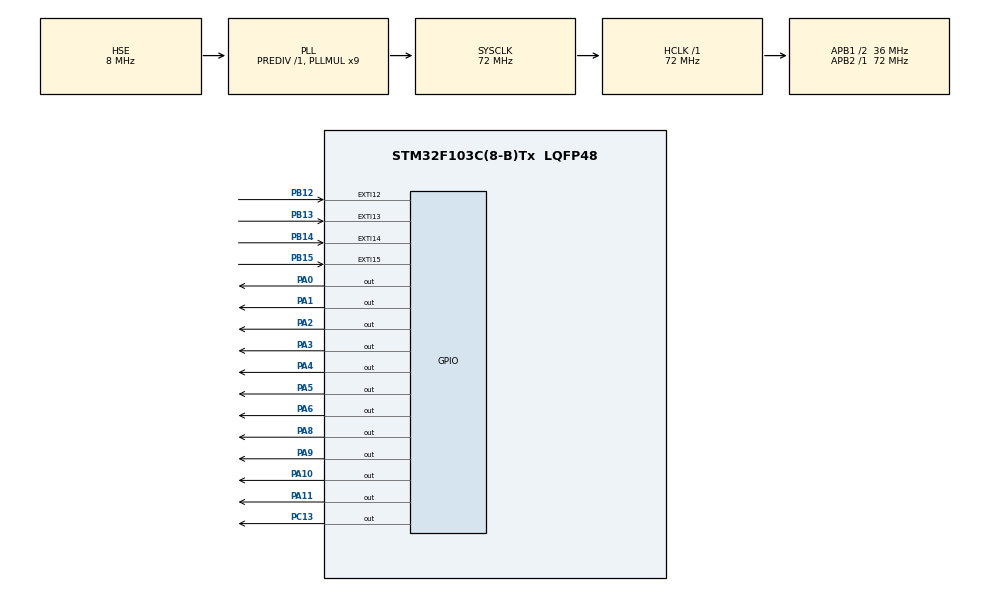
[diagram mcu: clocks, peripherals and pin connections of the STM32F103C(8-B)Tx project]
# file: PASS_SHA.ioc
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Mcu.Family=STM32F1
Mcu.Name=STM32F103C(8-B)Tx
Mcu.Package=LQFP48
NVIC.EXTI15_10_IRQn=true\:0\:0\:false\:false\:true\:true\:true\:true
NVIC.PriorityGroup=NVIC_PRIORITYGROUP_4
PA0-WKUP.Signal=GPIO_Output
PA1.Signal=GPIO_Output
PA10.Signal=GPIO_Output
PA11.Signal=GPIO_Output
PA13.Mode=Serial_Wire
PA13.Signal=SYS_JTMS-SWDIO
PA14.Mode=Serial_Wire
PA14.Signal=SYS_JTCK-SWCLK
PA2.Signal=GPIO_Output
PA3.Signal=GPIO_Output
PA4.Signal=GPIO_Output
PA5.Signal=GPIO_Output
PA6.Signal=GPIO_Output
PA8.Signal=GPIO_Output
PA9.Signal=GPIO_Output
PB12.Signal=GPXTI12
PB13.Signal=GPXTI13
PB14.Signal=GPXTI14
PB15.Signal=GPXTI15
PC13-TAMPER-RTC.PinState=GPIO_PIN_SET
PC13-TAMPER-RTC.Signal=GPIO_Output
PD0-OSC_IN.Mode=HSE-External-Oscillator
PD0-OSC_IN.Signal=RCC_OSC_IN
PD1-OSC_OUT.Mode=HSE-External-Oscillator
PD1-OSC_OUT.Signal=RCC_OSC_OUT
ProjectManager.HeapSize=0x200
ProjectManager.StackSize=0x400
ProjectManager.TargetToolchain=STM32CubeIDE
RCC.AHBFreq_Value=72000000
RCC.APB1CLKDivider=RCC_HCLK_DIV2
RCC.APB1Freq_Value=36000000
RCC.APB1TimFreq_Value=72000000
RCC.APB2Freq_Value=72000000
RCC.APB2TimFreq_Value=72000000
RCC.HCLKFreq_Value=72000000
RCC.PLLMUL=RCC_PLL_MUL9
RCC.PLLSourceVirtual=RCC_PLLSOURCE_HSE
RCC.SYSCLKFreq_VALUE=72000000
RCC.SYSCLKSource=RCC_SYSCLKSOURCE_PLLCLK
RCC.USBFreq_Value=72000000
TIM1.Period=0xffff-1
TIM1.Prescaler=72-1
VP_TIM1_VS_ClockSourceINT.Mode=Internal
board=custom

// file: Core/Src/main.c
/* USER CODE BEGIN Header */
/**
  ******************************************************************************
  * @file           : main.c
  * @brief          : Main program body
  ******************************************************************************
  * @attention
  *
  * Copyright (c) 2025 STMicroelectronics.
  * All rights reserved.
  *
  * This software is licensed under terms that can be found in the LICENSE file
  * in the root directory of this software component.
  * If no LICENSE file comes with this software, it is provided AS-IS.
  *
  ******************************************************************************
  */
/* USER CODE END Header */
#include "main.h"

/* USER CODE BEGIN Includes */
#include "LCD1602.h"
#include "flash.h"
#include "stdio.h"
#include "string.h"
#include <stdbool.h>

/* USER CODE END Includes */

/* USER CODE BEGIN PTD */
#define FLASH_USER_START_ADDR     0x0800F800
#define MAX_FAILED_ATTEMPTS       5
#define LOCK_DURATION_MS          300000
#define TIMEOUT_DURATION_MS       30000
#define ADMIN_CODE                "000999"

/* USER CODE END PTD */

TIM_HandleTypeDef htim1;

/* USER CODE BEGIN PV */

GPIO_InitTypeDef GPIO_InitStructPrivate = {0};

uint32_t previousMillis = 0;
uint32_t currentMillis = 0;
uint32_t lastInteraction = 0;
uint32_t lockTimestamp = 0;

int8_t keyPressed = -1;
uint8_t default_password[6] = "123456";
uint8_t current_password[10];
uint8_t input_password[10];
uint8_t new_password[10];
uint8_t confirm_password[10];

uint8_t input_length = 0;
uint8_t password_length = 6;
uint8_t failed_attempts = 0;
bool password_changed = false;

char lcd_buffer[20];

/* USER CODE END PV */

void SystemClock_Config(void);
static void MX_GPIO_Init(void);
static void MX_TIM1_Init(void);
/* USER CODE BEGIN PFP */

void Save_Password_To_Flash(void);
void Load_Password_From_Flash(void);
bool Verify_Password(void);
void Change_Password(void);

/* USER CODE END PFP */

int main(void)
{

  /* MCU Configuration--------------------------------------------------------*/

  /* Reset of all peripherals, Initializes the Flash interface and the Systick. */
  HAL_Init();

  /* Configure the system clock */
  SystemClock_Config();

  /* Initialize all configured peripherals */
  MX_GPIO_Init();
  MX_TIM1_Init();
  /* USER CODE BEGIN 2 */
  Load_Password_From_Flash();
  HAL_TIM_Base_Start(&htim1);
  lcd_init();

    HAL_GPIO_WritePin(GPIOA, GPIO_PIN_8,  1);
    HAL_GPIO_WritePin(GPIOA, GPIO_PIN_9,  1);
    HAL_GPIO_WritePin(GPIOA, GPIO_PIN_10, 1);
    HAL_GPIO_WritePin(GPIOA, GPIO_PIN_11, 1);

    lcd_clear();
    lcd_put_cur(0, 0);
    lcd_send_string("Password System");
    lcd_put_cur(1, 0);
    lcd_send_string("Press * to start");
  /* USER CODE END 2 */

  /* Infinite loop */
  /* USER CODE BEGIN WHILE */
    while (1)
    {
    	if (failed_attempts >= MAX_FAILED_ATTEMPTS &&
            HAL_GetTick() - lockTimestamp < LOCK_DURATION_MS)
        {
            lcd_clear();
            lcd_send_string("LOCKED 5 MIN");
            HAL_Delay(1000);
            continue;
        }
        if (keyPressed == 42) // '*'
        {
            lcd_clear();
            lcd_send_string("Enter Password:");
            lcd_put_cur(1, 0);
            input_length = 0;
            memset(input_password, 0, sizeof(input_password));
            lastInteraction = HAL_GetTick();
            keyPressed = -1;

            bool exitInput = false;

            while (!exitInput)
            {
                if (HAL_GetTick() - lastInteraction > TIMEOUT_DURATION_MS)
                {
                    lcd_clear();
                    lcd_send_string("Timeout !");
                    HAL_Delay(1000);

                    lcd_clear();
                    lcd_put_cur(0, 0);
                    lcd_send_string("Password System");
                    lcd_put_cur(1, 0);
                    lcd_send_string("Press * to start");

                    exitInput = true;
                    break;
                }

                if (keyPressed != -1)
                {
                    lastInteraction = HAL_GetTick();
                    uint8_t tempKey = keyPressed;
                    keyPressed = -1;

                    if (tempKey == 35) // '#'
                    {
                        if (memcmp(input_password, ADMIN_CODE, strlen(ADMIN_CODE)) == 0)
                        {
                            memcpy(current_password, default_password, 6);
                            password_length = 6;
                            Save_Password_To_Flash();
                            failed_attempts = 0;
                            lcd_clear();
                            lcd_send_string("Admin Reset OK!");
                            HAL_Delay(1000);
                            exitInput = true;
                            break;
                        }

                        if (Verify_Password())
                        {
                            lcd_clear();
                            lcd_send_string("Password OK!");
                            HAL_Delay(1000);

                            lcd_clear();
                            lcd_send_string("B: Change Pass");
                            lcd_put_cur(1, 0);
                            lcd_send_string("C: Exit");

                            bool inMenu = true;
                            while (inMenu)
                            {
                                if (keyPressed == 66) { Change_Password(); inMenu = false; }
                                else if (keyPressed == 67) { inMenu = false; }
                            }

                            lcd_clear();
                            lcd_put_cur(0, 0);
                            lcd_send_string("Password System");
                            lcd_put_cur(1, 0);
                            lcd_send_string("Press * to start");

                            exitInput = true;
                            break;
                        }
                        else
                        {
                            failed_attempts++;
                            if (failed_attempts >= MAX_FAILED_ATTEMPTS)
                            {
                                lockTimestamp = HAL_GetTick();
                            }

                            lcd_clear();
                            lcd_send_string("Wrong Password!");
                            HAL_Delay(1000);

                            lcd_clear();
                            lcd_put_cur(0, 0);
                            lcd_send_string("Password System");
                            lcd_put_cur(1, 0);
                            lcd_send_string("Press * to start");

                            exitInput = true;
                            break;
                        }
                    }
                    else if (tempKey == 68) // 'D' xóa ký tự
                    {
                        if (input_length > 0)
                        {
                            input_length--;
                            input_password[input_length] = 0;
                            lcd_put_cur(1, 0);
                            lcd_send_string("                ");
                            lcd_put_cur(1, 0);
                            for (int i = 0; i < input_length; i++)
                                lcd_send_data(input_password[i]);
                        }
                    }
                    else if (input_length < 10 && tempKey != '*' && tempKey != 'A' && tempKey != 'B' && tempKey != 'C')
                    {
                        input_password[input_length++] = tempKey;
                        lcd_send_data(tempKey);
                    }
                }
                HAL_Delay(50);
            }
        }
        HAL_Delay(10);
    }

  /* USER CODE END 3 */
}

void SystemClock_Config(void)
{
  RCC_OscInitTypeDef RCC_OscInitStruct = {0};
  RCC_ClkInitTypeDef RCC_ClkInitStruct = {0};

  /** Initializes the RCC Oscillators according to the specified parameters
  * in the RCC_OscInitTypeDef structure.
  */
  RCC_OscInitStruct.OscillatorType = RCC_OSCILLATORTYPE_HSE;
  RCC_OscInitStruct.HSEState = RCC_HSE_ON;
  RCC_OscInitStruct.HSEPredivValue = RCC_HSE_PREDIV_DIV1;
  RCC_OscInitStruct.HSIState = RCC_HSI_ON;
  RCC_OscInitStruct.PLL.PLLState = RCC_PLL_ON;
  RCC_OscInitStruct.PLL.PLLSource = RCC_PLLSOURCE_HSE;
  RCC_OscInitStruct.PLL.PLLMUL = RCC_PLL_MUL9;
  if (HAL_RCC_OscConfig(&RCC_OscInitStruct) != HAL_OK)
  {
    Error_Handler();
  }

  /** Initializes the CPU, AHB and APB buses clocks
  */
  RCC_ClkInitStruct.ClockType = RCC_CLOCKTYPE_HCLK|RCC_CLOCKTYPE_SYSCLK
                              |RCC_CLOCKTYPE_PCLK1|RCC_CLOCKTYPE_PCLK2;
  RCC_ClkInitStruct.SYSCLKSource = RCC_SYSCLKSOURCE_PLLCLK;
  RCC_ClkInitStruct.AHBCLKDivider = RCC_SYSCLK_DIV1;
  RCC_ClkInitStruct.APB1CLKDivider = RCC_HCLK_DIV2;
  RCC_ClkInitStruct.APB2CLKDivider = RCC_HCLK_DIV1;

  if (HAL_RCC_ClockConfig(&RCC_ClkInitStruct, FLASH_LATENCY_2) != HAL_OK)
  {
    Error_Handler();
  }
}

static void MX_TIM1_Init(void)
{

  TIM_ClockConfigTypeDef sClockSourceConfig = {0};
  TIM_MasterConfigTypeDef sMasterConfig = {0};

  htim1.Instance = TIM1;
  htim1.Init.Prescaler = 72-1;
  htim1.Init.CounterMode = TIM_COUNTERMODE_UP;
  htim1.Init.Period = 0xffff-1;
  htim1.Init.ClockDivision = TIM_CLOCKDIVISION_DIV1;
  htim1.Init.RepetitionCounter = 0;
  htim1.Init.AutoReloadPreload = TIM_AUTORELOAD_PRELOAD_DISABLE;
  if (HAL_TIM_Base_Init(&htim1) != HAL_OK)
  {
    Error_Handler();
  }
  sClockSourceConfig.ClockSource = TIM_CLOCKSOURCE_INTERNAL;
  if (HAL_TIM_ConfigClockSource(&htim1, &sClockSourceConfig) != HAL_OK)
  {
    Error_Handler();
  }
  sMasterConfig.MasterOutputTrigger = TIM_TRGO_RESET;
  sMasterConfig.MasterSlaveMode = TIM_MASTERSLAVEMODE_DISABLE;
  if (HAL_TIMEx_MasterConfigSynchronization(&htim1, &sMasterConfig) != HAL_OK)
  {
    Error_Handler();
  }

}

static void MX_GPIO_Init(void)
{
  GPIO_InitTypeDef GPIO_InitStruct = {0};

  /* GPIO Ports Clock Enable */
  __HAL_RCC_GPIOC_CLK_ENABLE();
  __HAL_RCC_GPIOD_CLK_ENABLE();
  __HAL_RCC_GPIOA_CLK_ENABLE();
  __HAL_RCC_GPIOB_CLK_ENABLE();

  /*Configure GPIO pin Output Level */
  HAL_GPIO_WritePin(GPIOC, GPIO_PIN_13, GPIO_PIN_SET);

  /*Configure GPIO pin Output Level */
  HAL_GPIO_WritePin(GPIOA, GPIO_PIN_0|GPIO_PIN_1|GPIO_PIN_2|GPIO_PIN_3
                          |GPIO_PIN_4|GPIO_PIN_5|GPIO_PIN_6|GPIO_PIN_8
                          |GPIO_PIN_9|GPIO_PIN_10|GPIO_PIN_11, GPIO_PIN_RESET);

  /*Configure GPIO pin : PC13 */
  GPIO_InitStruct.Pin = GPIO_PIN_13;
  GPIO_InitStruct.Mode = GPIO_MODE_OUTPUT_PP;
  GPIO_InitStruct.Pull = GPIO_NOPULL;
  GPIO_InitStruct.Speed = GPIO_SPEED_FREQ_LOW;
  HAL_GPIO_Init(GPIOC, &GPIO_InitStruct);

  /*Configure GPIO pins : PA0 PA1 PA2 PA3
                           PA4 PA5 PA6 PA8
                           PA9 PA10 PA11 */
  GPIO_InitStruct.Pin = GPIO_PIN_0|GPIO_PIN_1|GPIO_PIN_2|GPIO_PIN_3
                          |GPIO_PIN_4|GPIO_PIN_5|GPIO_PIN_6|GPIO_PIN_8
                          |GPIO_PIN_9|GPIO_PIN_10|GPIO_PIN_11;
  GPIO_InitStruct.Mode = GPIO_MODE_OUTPUT_PP;
  GPIO_InitStruct.Pull = GPIO_NOPULL;
  GPIO_InitStruct.Speed = GPIO_SPEED_FREQ_LOW;
  HAL_GPIO_Init(GPIOA, &GPIO_InitStruct);

  /*Configure GPIO pins : PB12 PB13 PB14 PB15 */
  GPIO_InitStruct.Pin = GPIO_PIN_12|GPIO_PIN_13|GPIO_PIN_14|GPIO_PIN_15;
  GPIO_InitStruct.Mode = GPIO_MODE_IT_RISING;
  GPIO_InitStruct.Pull = GPIO_NOPULL;
  HAL_GPIO_Init(GPIOB, &GPIO_InitStruct);

  /* EXTI interrupt init*/
  HAL_NVIC_SetPriority(EXTI15_10_IRQn, 0, 0);
  HAL_NVIC_EnableIRQ(EXTI15_10_IRQn);

}

/* USER CODE BEGIN 4 */

void HAL_GPIO_EXTI_Callback(uint16_t GPIO_Pin)
{
  currentMillis = HAL_GetTick();
  if (currentMillis - previousMillis > 10) {
    /*Configure GPIO pins : PB to GPIO_INPUT*/
    GPIO_InitStructPrivate.Pin = GPIO_PIN_12|GPIO_PIN_13|GPIO_PIN_14|GPIO_PIN_15;
    GPIO_InitStructPrivate.Mode = GPIO_MODE_INPUT;
    GPIO_InitStructPrivate.Pull = GPIO_NOPULL;
    GPIO_InitStructPrivate.Speed = GPIO_SPEED_FREQ_LOW;
    HAL_GPIO_Init(GPIOB, &GPIO_InitStructPrivate);

    HAL_GPIO_WritePin(GPIOA, GPIO_PIN_8,  1);
    HAL_GPIO_WritePin(GPIOA, GPIO_PIN_9,  0);
    HAL_GPIO_WritePin(GPIOA, GPIO_PIN_10, 0);
    HAL_GPIO_WritePin(GPIOA, GPIO_PIN_11, 0);
    if(GPIO_Pin == GPIO_PIN_12 && HAL_GPIO_ReadPin(GPIOB, GPIO_PIN_12))
    {
      keyPressed = 68; //ASCII value of D
    }
    else if(GPIO_Pin == GPIO_PIN_13 && HAL_GPIO_ReadPin(GPIOB, GPIO_PIN_13))
    {
      keyPressed = 67; //ASCII value of C
    }
    else if(GPIO_Pin == GPIO_PIN_14 && HAL_GPIO_ReadPin(GPIOB, GPIO_PIN_14))
    {
      keyPressed = 66; //ASCII value of B
    }
    else if(GPIO_Pin == GPIO_PIN_15 && HAL_GPIO_ReadPin(GPIOB, GPIO_PIN_15))
    {
      keyPressed = 65; //ASCII value of A
    }

    HAL_GPIO_WritePin(GPIOA, GPIO_PIN_8,  0);
    HAL_GPIO_WritePin(GPIOA, GPIO_PIN_9,  1);
    HAL_GPIO_WritePin(GPIOA, GPIO_PIN_10, 0);
    HAL_GPIO_WritePin(GPIOA, GPIO_PIN_11, 0);
    if(GPIO_Pin == GPIO_PIN_12 && HAL_GPIO_ReadPin(GPIOB, GPIO_PIN_12))
    {
      keyPressed = 35; //ASCII value of #
    }
    else if(GPIO_Pin == GPIO_PIN_13 && HAL_GPIO_ReadPin(GPIOB, GPIO_PIN_13))
    {
      keyPressed = 57; //ASCII value of 9
    }
    else if(GPIO_Pin == GPIO_PIN_14 && HAL_GPIO_ReadPin(GPIOB, GPIO_PIN_14))
    {
      keyPressed = 54; //ASCII value of 6
    }
    else if(GPIO_Pin == GPIO_PIN_15 && HAL_GPIO_ReadPin(GPIOB, GPIO_PIN_15))
    {
      keyPressed = 51; //ASCII value of 3
    }

    HAL_GPIO_WritePin(GPIOA, GPIO_PIN_8,  0);
    HAL_GPIO_WritePin(GPIOA, GPIO_PIN_9,  0);
    HAL_GPIO_WritePin(GPIOA, GPIO_PIN_10, 1);
    HAL_GPIO_WritePin(GPIOA, GPIO_PIN_11, 0);
    if(GPIO_Pin == GPIO_PIN_12 && HAL_GPIO_ReadPin(GPIOB, GPIO_PIN_12))
    {
      keyPressed = 48; //ASCII value of 0
    }
    else if(GPIO_Pin == GPIO_PIN_13 && HAL_GPIO_ReadPin(GPIOB, GPIO_PIN_13))
    {
      keyPressed = 56; //ASCII value of 8
    }
    else if(GPIO_Pin == GPIO_PIN_14 && HAL_GPIO_ReadPin(GPIOB, GPIO_PIN_14))
    {
      keyPressed = 53; //ASCII value of 5
    }
    else if(GPIO_Pin == GPIO_PIN_15 && HAL_GPIO_ReadPin(GPIOB, GPIO_PIN_15))
    {
      keyPressed = 50; //ASCII value of 2
    }

    HAL_GPIO_WritePin(GPIOA, GPIO_PIN_8,  0);
    HAL_GPIO_WritePin(GPIOA, GPIO_PIN_9,  0);
    HAL_GPIO_WritePin(GPIOA, GPIO_PIN_10, 0);
    HAL_GPIO_WritePin(GPIOA, GPIO_PIN_11, 1);
    if(GPIO_Pin == GPIO_PIN_12 && HAL_GPIO_ReadPin(GPIOB, GPIO_PIN_12))
    {
      keyPressed = 42; //ASCII value of *
    }
    else if(GPIO_Pin == GPIO_PIN_13 && HAL_GPIO_ReadPin(GPIOB, GPIO_PIN_13))
    {
      keyPressed = 55; //ASCII value of 7
    }
    else if(GPIO_Pin == GPIO_PIN_14 && HAL_GPIO_ReadPin(GPIOB, GPIO_PIN_14))
    {
      keyPressed = 52; //ASCII value of 4
    }
    else if(GPIO_Pin == GPIO_PIN_15 && HAL_GPIO_ReadPin(GPIOB, GPIO_PIN_15))
    {
      keyPressed = 49; //ASCII value of 1
    }

    HAL_GPIO_WritePin(GPIOA, GPIO_PIN_8,  1);
    HAL_GPIO_WritePin(GPIOA, GPIO_PIN_9,  1);
    HAL_GPIO_WritePin(GPIOA, GPIO_PIN_10, 1);
    HAL_GPIO_WritePin(GPIOA, GPIO_PIN_11, 1);
    /*Configure GPIO pins : PB back to EXTI*/

    GPIO_InitStructPrivate.Mode = GPIO_MODE_IT_RISING;
    GPIO_InitStructPrivate.Pull = GPIO_PULLDOWN;
    HAL_GPIO_Init(GPIOB, &GPIO_InitStructPrivate);
    previousMillis = currentMillis;
  }
}
bool Verify_Password(void)
{

  if (failed_attempts >= MAX_FAILED_ATTEMPTS &&
	  HAL_GetTick() - lockTimestamp < LOCK_DURATION_MS)
  {
    lcd_clear();
    lcd_send_string("Lock 5m ");
    HAL_Delay(1000);
    return false;
  }

  if (input_length != password_length)
    return false;

  for (int i = 0; i < password_length; i++)
    if (input_password[i] != current_password[i]) return false;

  failed_attempts = 0;
  return true;
}
void Change_Password(void)
{
  lcd_clear();
  lcd_send_string("New Password:");
  lcd_put_cur(1, 0);
  input_length = 0;
  memset(new_password, 0, sizeof(new_password));
  lastInteraction = HAL_GetTick();

  while (1)
  {
    if (HAL_GetTick() - lastInteraction > TIMEOUT_DURATION_MS) return;

    if (keyPressed != -1)
    {
      lastInteraction = HAL_GetTick();
      uint8_t tempkey = keyPressed;
      keyPressed = -1;

      if (tempkey == 35 && input_length == password_length) break;
      else if (tempkey == 68 && input_length > 0)
      {
        input_length--;
        new_password[input_length] = 0;
        lcd_put_cur(1, 0);
        lcd_send_string("                ");
        lcd_put_cur(1, 0);
        for (int i = 0; i < input_length; i++)
        lcd_send_data(new_password[i]);
      }
      else if (input_length < 10) {
        new_password[input_length++] = tempkey;
        lcd_send_data(tempkey);
      }
    }
    HAL_Delay(50);
  }
  lcd_clear();
  lcd_send_string("Confirm Pass:");
  lcd_put_cur(1, 0);
  memset(confirm_password, 0, sizeof(confirm_password));
  uint8_t confirm_length = 0;
  lastInteraction = HAL_GetTick();

  while (1)
  {
    if (HAL_GetTick() - lastInteraction > TIMEOUT_DURATION_MS) return;

    if (keyPressed != -1)
    {
      lastInteraction = HAL_GetTick();
      uint8_t tempkey = keyPressed;
      keyPressed = -1;

      if (tempkey == 35)
      {
        if (confirm_length == input_length && memcmp(new_password, confirm_password, input_length) == 0)
        {
          memcpy(current_password, new_password, input_length);
          password_length = input_length;
          Save_Password_To_Flash();
          lcd_clear();
          lcd_send_string("Password Changed");
          HAL_Delay(1000);
        }
        else
        {
          lcd_clear();
          lcd_send_string("Mismatch!");
          HAL_Delay(1000);
        }
        break;
      }
      else if (tempkey == 68 && confirm_length > 0)
      {
        confirm_length--;
        confirm_password[confirm_length] = 0;
        lcd_put_cur(1, 0);
        lcd_send_string("                ");
        lcd_put_cur(1, 0);
        for (int i = 0; i < confirm_length; i++)
        lcd_send_data(confirm_password[i]);
      }
      else if (confirm_length < 10)
      {
        confirm_password[confirm_length++] = tempkey;
        lcd_send_data(tempkey);
      }
    }
    HAL_Delay(50);
  }
}
void Save_Password_To_Flash(void)
{
  HAL_FLASH_Unlock();
  FLASH_EraseInitTypeDef EraseInitStruct;
  uint32_t PAGEError = 0;

  EraseInitStruct.Banks = 1;
  EraseInitStruct.NbPages = 1;
  EraseInitStruct.PageAddress = FLASH_USER_START_ADDR;
  EraseInitStruct.TypeErase = FLASH_TYPEERASE_PAGES;

  if (HAL_FLASHEx_Erase(&EraseInitStruct, &PAGEError) != HAL_OK) return;

  HAL_FLASH_Program(FLASH_TYPEPROGRAM_HALFWORD, FLASH_USER_START_ADDR, password_length);
  for (int i = 0; i < password_length; i++)
    HAL_FLASH_Program(FLASH_TYPEPROGRAM_HALFWORD, FLASH_USER_START_ADDR + 2 + i * 2, current_password[i]);

  HAL_FLASH_Lock();
}
void Load_Password_From_Flash(void)
{
  uint8_t len = *(__IO uint16_t*)FLASH_USER_START_ADDR;
  if (len > 0 && len < 20)
  {
    password_length = len;
    for (int i = 0; i < len; i++)
      current_password[i] = *(__IO uint16_t*)(FLASH_USER_START_ADDR + 2 + i * 2);
  }
  else
  {
    memcpy(current_password, default_password, 6);
    password_length = 6;
  }
}

/* USER CODE END 4 */

void Error_Handler(void)
{
  __disable_irq();
  while (1)
  {
  }
}
